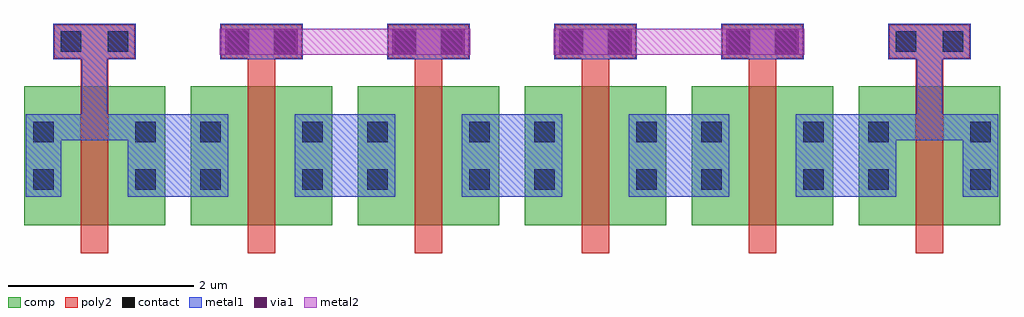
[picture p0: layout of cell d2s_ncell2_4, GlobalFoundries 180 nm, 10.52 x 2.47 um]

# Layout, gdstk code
import gdstk
lib = gdstk.Library(unit=1e-6, precision=5e-09)
def R(c, l, rs):  # rectangles x0, y0, x1, y1
    for r in rs: c.add(gdstk.rectangle(r[:2], r[2:], *l))
def A(c, l, x, y, w, h, nx, ny, dx, dy):  # array of equal rectangles
    R(c, l, [(x+i*dx, y+j*dy, x+i*dx+w, y+j*dy+h) for i in range(nx) for j in range(ny)])
comp = (22, 0)
poly2 = (30, 0)
contact = (33, 0)
metal1 = (34, 0)
via1 = (35, 0)
metal2 = (36, 0)

d2s_ncell2_1 = lib.new_cell('d2s_ncell2_1')
R(d2s_ncell2_1, comp, [(0,0.3,0.42,1.8), (0.42,0.3,1.1,1.8), (1.1,0.3,1.52,1.8)])
R(d2s_ncell2_1, poly2, [(0.61,0,0.91,2.1)])
R(d2s_ncell2_1, contact, [(0.1,0.685,0.32,0.905), (1.2,0.685,1.42,0.905), (0.1,1.195,0.32,1.415), (1.2,1.195,1.42,1.415)])
R(d2s_ncell2_1, metal1, [(0.02,0.605,0.4,1.495), (1.12,0.605,1.5,1.495)])

d2s_ncell2_4 = lib.new_cell('d2s_ncell2_4')
A(d2s_ncell2_4, poly2, 0.325, 2.1, 0.87, 0.36, 6, 1, 1.8, 0)
R(d2s_ncell2_4, contact, [(0.395,2.17,0.615,2.39), (0.905,2.17,1.125,2.39), (2.195,2.17,2.415,2.39), (2.705,2.17,2.925,2.39), (3.995,2.17,4.215,2.39), (4.505,2.17,4.725,2.39), (5.795,2.17,6.015,2.39), (6.305,2.17,6.525,2.39), (7.595,2.17,7.815,2.39), (8.105,2.17,8.325,2.39), (9.395,2.17,9.615,2.39), (9.905,2.17,10.125,2.39)])
A(d2s_ncell2_4, metal1, 1.5, 0.605, 0.32, 0.89, 5, 1, 1.8, 0)
A(d2s_ncell2_4, metal1, 0.315, 2.09, 0.89, 0.38, 6, 1, 1.8, 0)
R(d2s_ncell2_4, via1, [(2.17,2.15,2.43,2.41), (2.69,2.15,2.95,2.41), (3.97,2.15,4.23,2.41), (4.49,2.15,4.75,2.41), (5.77,2.15,6.03,2.41), (6.29,2.15,6.55,2.41), (7.57,2.15,7.83,2.41), (8.09,2.15,8.35,2.41)])
d2s_ncell2_4.add(gdstk.FlexPath([(9.4,1.355),(10.12,1.355)], 0.28, ends="flush", simple_path=True, layer=34, datatype=0))  # metal1
d2s_ncell2_4.add(gdstk.FlexPath([(9.76,2.09),(9.76,1.495)], 0.28, ends="flush", simple_path=True, layer=34, datatype=0))  # metal1
d2s_ncell2_4.add(gdstk.FlexPath([(0.4,1.355),(1.12,1.355)], 0.28, ends="flush", simple_path=True, layer=34, datatype=0))  # metal1
d2s_ncell2_4.add(gdstk.FlexPath([(0.76,2.09),(0.76,1.495)], 0.28, ends="flush", simple_path=True, layer=34, datatype=0))  # metal1
d2s_ncell2_4.add(gdstk.FlexPath([(2.11,2.28),(4.81,2.28)], 0.28, ends="flush", simple_path=True, layer=36, datatype=0))  # metal2
d2s_ncell2_4.add(gdstk.FlexPath([(5.71,2.28),(8.41,2.28)], 0.28, ends="flush", simple_path=True, layer=36, datatype=0))  # metal2
d2s_ncell2_4.add(gdstk.Reference(d2s_ncell2_1, (0,0)))
d2s_ncell2_4.add(gdstk.Reference(d2s_ncell2_1, (1.8,0)))
d2s_ncell2_4.add(gdstk.Reference(d2s_ncell2_1, (3.6,0)))
d2s_ncell2_4.add(gdstk.Reference(d2s_ncell2_1, (5.4,0)))
d2s_ncell2_4.add(gdstk.Reference(d2s_ncell2_1, (7.2,0)))
d2s_ncell2_4.add(gdstk.Reference(d2s_ncell2_1, (9,0)))

lib.write_gds('d2s_ncell2_4.gds')
